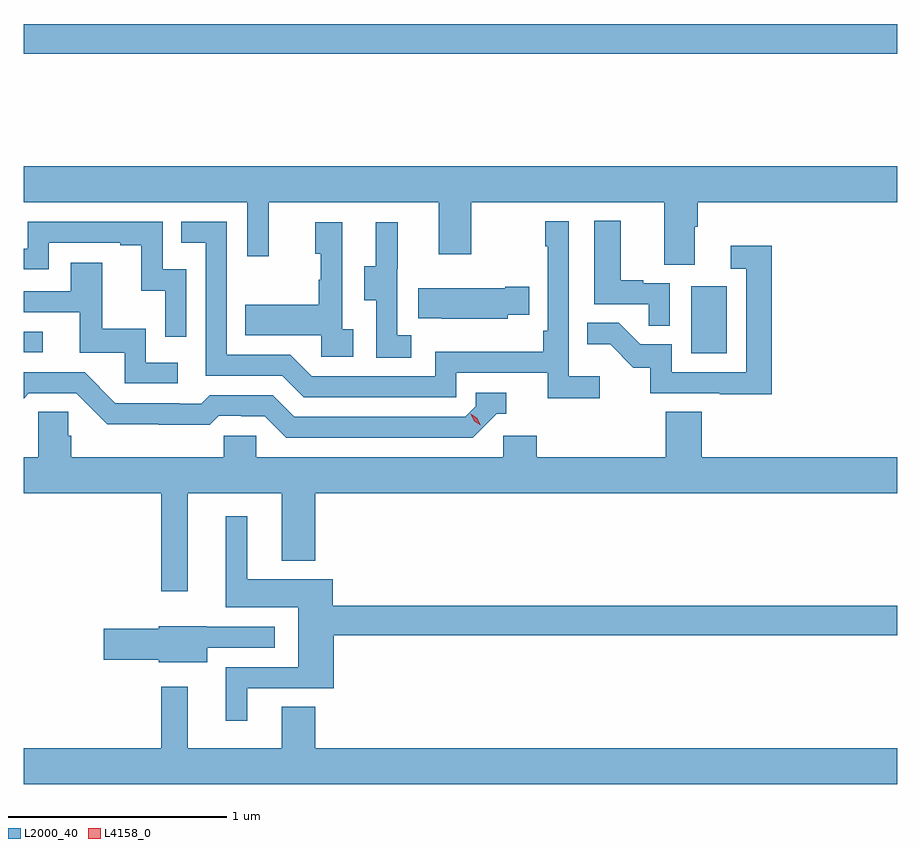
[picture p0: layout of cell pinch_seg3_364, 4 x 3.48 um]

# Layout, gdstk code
import gdstk
lib = gdstk.Library(unit=1e-6, precision=1e-09)
def R(c, l, rs):  # rectangles x0, y0, x1, y1
    for r in rs: c.add(gdstk.rectangle(r[:2], r[2:], *l))
def P(c, l, *ps):  # polygons
    for p in ps: c.add(gdstk.Polygon(p, *l))
L2000_40 = (2000, 40)
L4158_0 = (4158, 0)

pinch_seg3_364 = lib.new_cell('pinch_seg3_364')
R(pinch_seg3_364, L2000_40, [(962.564,701.556,962.728,701.863), (959.508,701.562,959.596,701.655), (959.508,702.928,963.508,703.064)])
P(pinch_seg3_364, L2000_40, [(962.581,702.136),(962.594,702.136),(962.594,702.248),(963.508,702.248),(963.508,702.412),(959.508,702.412),(959.508,702.248),(960.531,702.248),(960.531,702),(960.629,702),(960.629,702.248),(961.409,702.248),(961.409,702.009),(961.557,702.009),(961.557,702.248),(962.441,702.248),(962.441,701.962),(962.581,701.962)],
  [(962.466,701.877),(962.345,701.877),(962.345,701.89),(962.242,701.89),(962.242,702.163),(962.12,702.163),(962.12,701.781),(962.371,701.781),(962.371,701.683),(962.466,701.683)],
  [(962.146,701.452),(962.004,701.452),(962.004,702.16),(961.896,702.16),(961.896,702.047),(961.908,702.047),(961.908,701.659),(961.888,701.659),(961.888,701.563),(961.392,701.563),(961.392,701.451),(960.828,701.451),(960.729,701.55),(960.438,701.55),(960.438,702.159),(960.229,702.159),(960.229,702.063),(960.342,702.063),(960.342,701.454),(960.692,701.454),(960.791,701.355),(961.488,701.355),(961.488,701.466),(961.907,701.466),(961.907,701.35),(962.146,701.35)],
  [(960.252,701.94),(960.144,701.94),(960.144,702.159),(959.526,702.159),(959.526,702.036),(959.508,702.036),(959.508,701.94),(959.622,701.94),(959.622,702.063),(959.951,702.063),(959.951,702.051),(960.047,702.051),(960.047,701.843),(960.156,701.843),(960.156,701.631),(960.252,701.631)],
  [(961.282,701.639),(961.218,701.639),(961.218,701.943),(961.22,701.943),(961.22,702.157),(961.121,702.157),(961.121,701.955),(961.067,701.955),(961.067,701.8),(961.122,701.8),(961.122,701.536),(961.282,701.536)],
  [(961.018,701.666),(960.966,701.666),(960.966,702.157),(960.842,702.157),(960.842,702.012),(960.868,702.012),(960.868,701.894),(960.858,701.894),(960.858,701.779),(960.523,701.779),(960.523,701.639),(960.87,701.639),(960.87,701.541),(961.018,701.541)],
  [(962.933,702.049),(962.745,702.049),(962.745,701.943),(962.817,701.943),(962.817,701.469),(962.475,701.469),(962.475,701.598),(962.33,701.598),(962.232,701.696),(962.089,701.696),(962.089,701.597),(962.193,701.597),(962.3,701.49),(962.377,701.49),(962.377,701.373),(962.695,701.373),(962.695,701.368),(962.933,701.368)],
  [(960.214,701.514),(960.066,701.514),(960.066,701.668),(959.867,701.668),(959.867,701.971),(959.723,701.971),(959.723,701.841),(959.508,701.841),(959.508,701.745),(959.765,701.745),(959.765,701.559),(959.97,701.559),(959.97,701.418),(960.214,701.418)],
  [(961.725,701.732),(961.823,701.732),(961.823,701.862),(961.712,701.862),(961.712,701.854),(961.315,701.854),(961.315,701.717),(961.423,701.717),(961.423,701.714),(961.725,701.714)],
  [(961.674,701.28),(961.717,701.28),(961.717,701.376),(961.578,701.376),(961.578,701.313),(961.53,701.265),(960.747,701.265),(960.648,701.364),(960.359,701.364),(960.32,701.325),(960.221,701.325),(960.221,701.328),(959.928,701.328),(959.787,701.469),(959.508,701.469),(959.508,701.349),(959.532,701.373),(959.748,701.373),(959.89,701.231),(960.126,701.231),(960.126,701.229),(960.359,701.229),(960.401,701.271),(960.504,701.271),(960.504,701.268),(960.611,701.268),(960.71,701.169),(961.563,701.169)],
  [(960.259,700.916),(960.689,700.916),(960.689,700.607),(960.842,700.607),(960.842,700.916),(963.508,700.916),(963.508,701.08),(962.612,701.08),(962.612,701.288),(962.447,701.288),(962.447,701.08),(961.856,701.08),(961.856,701.178),(961.704,701.178),(961.704,701.08),(960.573,701.08),(960.573,701.178),(960.423,701.178),(960.423,701.08),(959.726,701.08),(959.726,701.178),(959.711,701.178),(959.711,701.288),(959.574,701.288),(959.574,701.08),(959.508,701.08),(959.508,700.916),(960.138,700.916),(960.138,700.467),(960.259,700.467)],
  [(960.532,700.023),(960.928,700.023),(960.928,700.264),(963.508,700.264),(963.508,700.4),(960.923,700.4),(960.923,700.522),(960.532,700.522),(960.532,700.81),(960.434,700.81),(960.434,700.394),(960.764,700.394),(960.764,700.119),(960.434,700.119),(960.434,699.873),(960.532,699.873)],
  [(960.349,700.209),(960.658,700.209),(960.658,700.305),(960.345,700.305),(960.345,700.306),(960.126,700.306),(960.126,700.295),(959.874,700.295),(959.874,700.153),(960.126,700.153),(960.126,700.142),(960.349,700.142)],
  [(963.508,699.748),(960.842,699.748),(960.842,699.938),(960.689,699.938),(960.689,699.748),(960.259,699.748),(960.259,700.03),(960.138,700.03),(960.138,699.748),(959.508,699.748),(959.508,699.584),(963.508,699.584)])
P(pinch_seg3_364, L4158_0, [(961.6,701.226),(961.57,701.246),(961.555,701.28),(961.555,701.28),(961.555,701.28),(961.585,701.259),(961.6,701.226),(961.6,701.226)])

lib.write_gds('pinch_seg3_364.gds')
